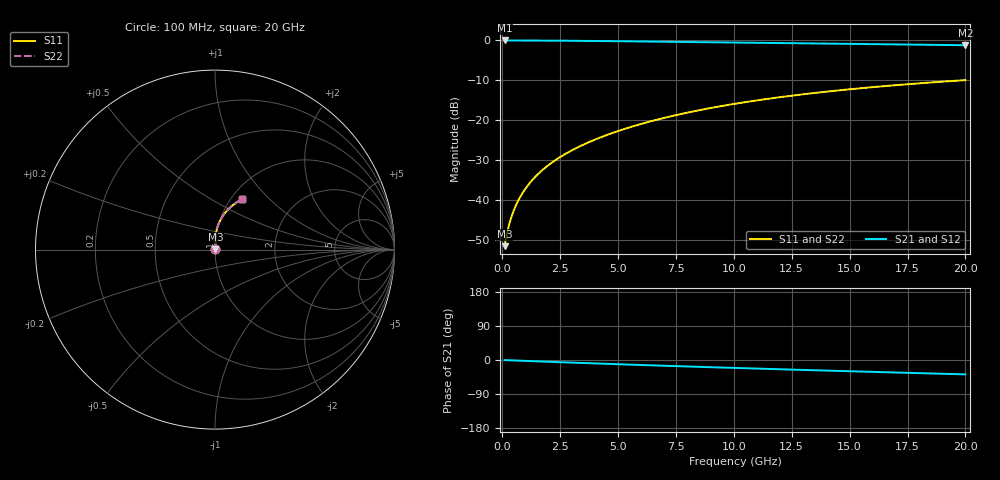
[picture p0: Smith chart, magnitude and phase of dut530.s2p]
! Touchstone file exported from HFSS 2024.1.0
!  File:  C:/UserFiles/LocalFiles/RDL_TSV_Batchsim/temp_RDL_top_530_1779680133.aedt
!  Generated:  11:37:35 AM May 25, 2026
!  Design:  RDL_top
!  Project:  temp_RDL_top_530_1779680133
!  Setup:  Setup1
!  Solution:  Sweep
! Variables:
!  dtsv = 10.80580581um
!  hbump = 3um
!  htsv = 61.03um
!  ldown = 100um
!  lrdl = 559.2um
!  p = 40
!  p1 = 50.1um
!  rhole = 1um
!  t = 450um
!  tdown = 3.915915916um
!  trdl = 4.14um
!  wdown = 15.38538539um
!  wrdl = 25.07um
# GHz S MA R 50.000000
! Terminal data exported
! Port[1] = Box2_T1
! Port[2] = Box2_T2
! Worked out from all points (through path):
!   200 points, 100 MHz to 20 GHz, reference 50 ohm
!   highest |S21| = -0.02 dB at 100 MHz (marker M1); lowest = -1.2 dB at 20 GHz (marker M2)
!   group delay of S21, straight-line fit = 5.2 ps
!   lowest |S11| = -51.6 dB at 100 MHz (marker M3), VSWR 1.01, Z = 50.2 + j0.155 ohm
!   |S11| at or under -10 dB: start of sweep to 19.93 GHz
!   |S22| runs from -51.6 to -10.0 dB; largest |S21 - S12| = 4.3e-15
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0.1  0.00262 36.1  0.9979 -0.2  0.9979 -0.2  0.00262 36.1
! Gamma 0 0 0 0
! Port Impedance 50 0 50 0
0.2  0.003745 52.8  0.9977 -0.5  0.9977 -0.5  0.003745 52.8
0.3  0.004952 61.2  0.9975 -0.7  0.9975 -0.7  0.004951 61.2
0.4  0.00617 66.4  0.9973 -1.0  0.9973 -1.0  0.006169 66.4
0.5  0.007401 70.1  0.9972 -1.2  0.9972 -1.2  0.007401 70.1
0.6  0.008649 72.9  0.997 -1.4  0.997 -1.4  0.008649 72.9
0.8  0.01119 76.8  0.9967 -1.9  0.9967 -1.9  0.01119 76.8
1.1  0.0151 80.4  0.996 -2.6  0.996 -2.6  0.0151 80.4
1.3  0.01776 82.0  0.9955 -3.0  0.9955 -3.0  0.01776 82.0
1.6  0.02181 83.8  0.9947 -3.7  0.9947 -3.7  0.02181 83.8
2.1  0.02871 85.6  0.9929 -4.9  0.9929 -4.9  0.02872 85.6
2.7  0.03727 86.9  0.9902 -6.2  0.9902 -6.2  0.03728 86.9
3.5  0.04917 87.7  0.986 -8.0  0.986 -8.0  0.04918 87.7
4.2  0.06002 87.9  0.9817 -9.5  0.9817 -9.5  0.06004 87.9
5  0.0729 87.6  0.9764 -11.2  0.9764 -11.2  0.07292 87.6
6.8  0.1033 85.8  0.9636 -14.8  0.9636 -14.8  0.1033 85.9
8.4  0.1312 83.4  0.9519 -17.9  0.9519 -17.9  0.1313 83.4
10.1  0.1611 80.4  0.9395 -21.1  0.9395 -21.1  0.1612 80.4
11.7  0.1888 77.3  0.9279 -23.9  0.9279 -23.9  0.189 77.4
13.4  0.2175 74.0  0.9157 -26.9  0.9157 -26.9  0.2176 74.1
16.7  0.2699 67.7  0.8924 -32.6  0.8924 -32.6  0.27 67.8
20  0.3172 61.7  0.8693 -37.9  0.8693 -37.9  0.3174 61.8
